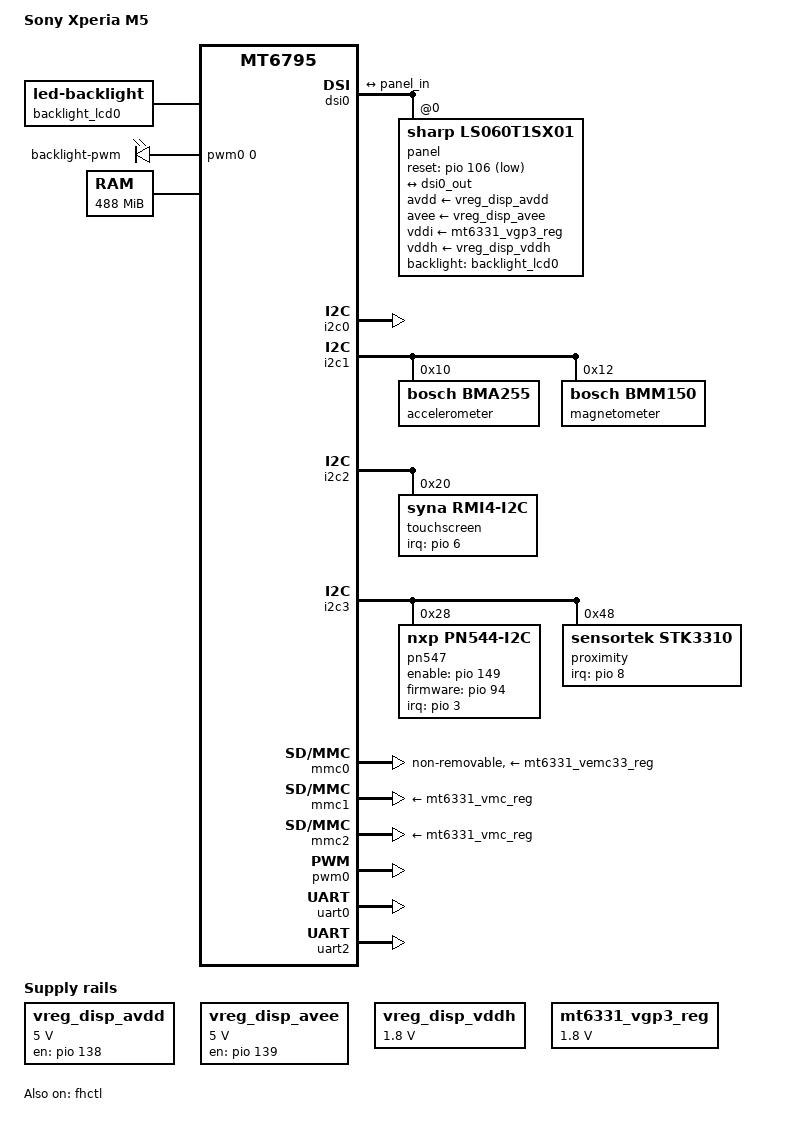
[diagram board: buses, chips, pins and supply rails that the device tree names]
// SPDX-License-Identifier: GPL-2.0-only
/*
 * Copyright (c) 2022, Collabora Ltd
 * Author: AngeloGioacchino Del Regno <angelogioacchino.delregno@collabora.com>
 */

/dts-v1/;
#include <dt-bindings/gpio/gpio.h>
#include "mt6795.dtsi"
#include "mt6331.dtsi"

/ {
	model = "Sony Xperia M5";
	compatible = "sony,xperia-m5", "mediatek,mt6795";
	chassis-type = "handset";

	aliases {
		mmc0 = &mmc0;
		mmc1 = &mmc1;
		mmc2 = &mmc2;
		serial0 = &uart0;
		serial1 = &uart1;
	};

	backlight_lcd0: backlight {
		compatible = "led-backlight";
		leds = <&disp_led_pwm>, <&pmic_bl_led>;

		default-brightness-level = <300>;
	};

	led-controller-display {
		compatible = "pwm-leds";

		disp_led_pwm: led-0 {
			label = "backlight-pwm";
			pwms = <&pwm0 0 500000>;
			max-brightness = <1024>;
		};
	};

	memory@40000000 {
		device_type = "memory";
		reg = <0 0x40000000 0 0x1e800000>;
	};

	reserved_memory: reserved-memory {
		#address-cells = <2>;
		#size-cells = <2>;
		ranges;

		/* 128 KiB reserved for ARM Trusted Firmware (BL31) */
		bl31_secmon_reserved: secmon@43000000 {
			reg = <0 0x43000000 0 0x30000>;
			no-map;
		};

		/* preloader and bootloader regions cannot be touched */
		preloader-region@44800000 {
			reg = <0 0x44800000 0 0x100000>;
			no-map;
		};

		bootloader-region@46000000 {
			reg = <0 0x46000000 0 0x400000>;
			no-map;
		};
	};

	vreg_disp_avdd: regulator-disp-avdd {
		compatible = "regulator-fixed";
		regulator-name = "disp_avdd";
		regulator-min-microvolt = <5000000>;
		regulator-max-microvolt = <5000000>;
		gpio = <&pio 138 GPIO_ACTIVE_HIGH>;
		enable-active-high;
	};

	vreg_disp_avee: regulator-disp-avee {
		compatible = "regulator-fixed";
		regulator-name = "disp_avee";
		regulator-min-microvolt = <5000000>;
		regulator-max-microvolt = <5000000>;
		gpio = <&pio 139 GPIO_ACTIVE_HIGH>;
		enable-active-high;
	};

	vreg_disp_vddh: regulator-disp-vddh {
		compatible = "regulator-fixed";
		regulator-name = "disp_vddh";
		regulator-min-microvolt = <1800000>;
		regulator-max-microvolt = <1800000>;
		regulator-always-on;
		regulator-boot-on;
	};
};

&dsi0 {
	status = "okay";
	#address-cells = <1>;
	#size-cells = <0>;

	panel: panel@0 {
		compatible = "sharp,ls060t1sx01";
		reg = <0>;
		avdd-supply = <&vreg_disp_avdd>;
		avee-supply = <&vreg_disp_avee>;
		vddi-supply = <&mt6331_vgp3_reg>;
		vddh-supply = <&vreg_disp_vddh>;
		reset-gpios = <&pio 106 GPIO_ACTIVE_LOW>;
		backlight = <&backlight_lcd0>;

		pinctrl-0 = <&disp_rst_pins>;
		pinctrl-names = "default";

		port {
			panel_in: endpoint {
				remote-endpoint = <&dsi0_out>;
			};
		};
	};

	port {
		dsi0_out: endpoint {
			remote-endpoint = <&panel_in>;
		};
	};
};

&fhctl {
	clocks = <&apmixedsys CLK_APMIXED_MAINPLL>, <&apmixedsys CLK_APMIXED_MPLL>,
		 <&apmixedsys CLK_APMIXED_MSDCPLL>;
	mediatek,hopping-ssc-percent = <8>, <5>, <8>;
	status = "okay";
};

&i2c0 {
	pinctrl-names = "default";
	pinctrl-0 = <&i2c0_pins>;
	status = "okay";
};

&i2c1 {
	pinctrl-names = "default";
	pinctrl-0 = <&i2c1_pins>;
	status = "okay";

	accelerometer@10 {
		compatible = "bosch,bma255";
		reg = <0x10>;
		pinctrl-names = "default";
		pinctrl-0 = <&accel_pins>;
	};

	magnetometer@12 {
		compatible = "bosch,bmm150";
		reg = <0x12>;
	};
};

&i2c2 {
	pinctrl-names = "default";
	pinctrl-0 = <&i2c2_pins>;
	status = "okay";

	touchscreen@20 {
		compatible = "syna,rmi4-i2c";
		reg = <0x20>;
		#address-cells = <1>;
		#size-cells = <0>;
		interrupts-extended = <&pio 6 IRQ_TYPE_EDGE_FALLING>;
		pinctrl-names = "default";
		pinctrl-0 = <&ts_pins>;
		syna,startup-delay-ms = <160>;
		syna,reset-delay-ms = <90>;

		rmi4-f01@1 {
			reg = <0x1>;
			syna,nosleep-mode = <1>;
		};

		rmi4-f12@12 {
			reg = <0x12>;
			syna,sensor-type = <1>;
		};
	};
};

&i2c3 {
	pinctrl-names = "default";
	pinctrl-0 = <&i2c3_pins>;
	status = "okay";

	pn547: nfc@28 {
		compatible = "nxp,pn544-i2c";
		reg = <0x28>;
		interrupts-extended = <&pio 3 IRQ_TYPE_EDGE_RISING>;
		pinctrl-names = "default";
		pinctrl-0 = <&nfc_pins>;
		enable-gpios = <&pio 149 GPIO_ACTIVE_HIGH>;
		firmware-gpios = <&pio 94 GPIO_ACTIVE_HIGH>;
	};

	proximity@48 {
		compatible = "sensortek,stk3310";
		reg = <0x48>;
		interrupts-extended = <&pio 8 IRQ_TYPE_EDGE_FALLING>;
		pinctrl-names = "default";
		pinctrl-0 = <&proximity_pins>;
	};
};

&mmc0 {
	/* eMMC controller */
	mediatek,latch-ck = <4>; /* hs400 */
	mediatek,hs200-cmd-int-delay = <1>;
	mediatek,hs400-cmd-int-delay = <1>;
	mediatek,hs400-ds-dly3 = <0x1a>;
	non-removable;
	pinctrl-names = "default", "state_uhs";
	pinctrl-0 = <&mmc0_pins_default>;
	pinctrl-1 = <&mmc0_pins_uhs>;
	vmmc-supply = <&mt6331_vemc33_reg>;
	vqmmc-supply = <&mt6331_vio18_reg>;
	status = "okay";
};

&mmc1 {
	/* MicroSD card slot */
	pinctrl-names = "default";
	pinctrl-0 = <&mmc1_pins_default>;
	vmmc-supply = <&mt6331_vmc_reg>;
	vqmmc-supply = <&mt6331_vmch_reg>;
	status = "okay";
};

&mmc2 {
	/* SDIO WiFi on MMC2 */
	pinctrl-names = "default";
	pinctrl-0 = <&mmc2_pins_default>;
	vmmc-supply = <&mt6331_vmc_reg>;
	vqmmc-supply = <&mt6331_vmch_reg>;
	status = "okay";
};

&mt6331_vgp3_reg {
	regulator-min-microvolt = <1800000>;
};

&pio {
	disp_rst_pins: lcm-pins {
		pins-rst {
			pinmux = <PINMUX_GPIO106__FUNC_GPIO106>;
		};
	};

	mmc0_pins_default: emmc-sdr-pins {
		pins-cmd-dat {
			pinmux = <PINMUX_GPIO154__FUNC_MSDC0_DAT0>,
				 <PINMUX_GPIO155__FUNC_MSDC0_DAT1>,
				 <PINMUX_GPIO156__FUNC_MSDC0_DAT2>,
				 <PINMUX_GPIO157__FUNC_MSDC0_DAT3>,
				 <PINMUX_GPIO158__FUNC_MSDC0_DAT4>,
				 <PINMUX_GPIO159__FUNC_MSDC0_DAT5>,
				 <PINMUX_GPIO160__FUNC_MSDC0_DAT6>,
				 <PINMUX_GPIO161__FUNC_MSDC0_DAT7>,
				 <PINMUX_GPIO162__FUNC_MSDC0_CMD>;
			input-enable;
			bias-pull-up = <MTK_PUPD_SET_R1R0_01>;
		};

		pins-clk {
			pinmux = <PINMUX_GPIO163__FUNC_MSDC0_CLK>;
			bias-pull-down = <MTK_PUPD_SET_R1R0_10>;
		};

		pins-rst {
			pinmux = <PINMUX_GPIO165__FUNC_MSDC0_RSTB>;
			bias-pull-up = <MTK_PUPD_SET_R1R0_10>;
		};
	};

	mmc0_pins_uhs: emmc-uhs-pins {
		pins-cmd-dat {
			pinmux = <PINMUX_GPIO154__FUNC_MSDC0_DAT0>,
				 <PINMUX_GPIO155__FUNC_MSDC0_DAT1>,
				 <PINMUX_GPIO156__FUNC_MSDC0_DAT2>,
				 <PINMUX_GPIO157__FUNC_MSDC0_DAT3>,
				 <PINMUX_GPIO158__FUNC_MSDC0_DAT4>,
				 <PINMUX_GPIO159__FUNC_MSDC0_DAT5>,
				 <PINMUX_GPIO160__FUNC_MSDC0_DAT6>,
				 <PINMUX_GPIO161__FUNC_MSDC0_DAT7>,
				 <PINMUX_GPIO162__FUNC_MSDC0_CMD>;
			input-enable;
			drive-strength = <6>;
			bias-pull-up = <MTK_PUPD_SET_R1R0_01>;
		};

		pins-clk {
			pinmux = <PINMUX_GPIO163__FUNC_MSDC0_CLK>;
			drive-strength = <6>;
			bias-pull-down = <MTK_PUPD_SET_R1R0_10>;
		};

		pins-rst {
			pinmux = <PINMUX_GPIO165__FUNC_MSDC0_RSTB>;
			drive-strength = <6>;
			bias-pull-up = <MTK_PUPD_SET_R1R0_10>;
		};

		pins-ds {
			pinmux = <PINMUX_GPIO164__FUNC_MSDC0_DSL>;
			drive-strength = <6>;
			bias-pull-down = <MTK_PUPD_SET_R1R0_10>;
		};
	};

	mmc1_pins_default: microsd-pins {
		pins-cmd-dat {
			pinmux = <PINMUX_GPIO171__FUNC_MSDC1_DAT0>,
				 <PINMUX_GPIO172__FUNC_MSDC1_DAT1>,
				 <PINMUX_GPIO173__FUNC_MSDC1_DAT2>,
				 <PINMUX_GPIO174__FUNC_MSDC1_DAT3>,
				 <PINMUX_GPIO170__FUNC_MSDC1_CMD>;
			input-enable;
			bias-pull-up = <MTK_PUPD_SET_R1R0_01>;
		};

		pins-clk {
			pinmux = <PINMUX_GPIO175__FUNC_MSDC1_CLK>;
			bias-pull-down = <MTK_PUPD_SET_R1R0_10>;
		};
	};

	mmc2_pins_default: sdio-pins {
		pins-cmd-dat {
			pinmux = <PINMUX_GPIO100__FUNC_MSDC2_DAT0>,
				 <PINMUX_GPIO101__FUNC_MSDC2_DAT1>,
				 <PINMUX_GPIO102__FUNC_MSDC2_DAT2>,
				 <PINMUX_GPIO103__FUNC_MSDC2_DAT3>,
				 <PINMUX_GPIO105__FUNC_MSDC2_CMD>;
			input-enable;
			bias-pull-up = <MTK_PUPD_SET_R1R0_01>;
		};

		pins-clk {
			pinmux = <PINMUX_GPIO104__FUNC_MSDC2_CLK>;
			bias-pull-down = <MTK_PUPD_SET_R1R0_10>;
		};
	};

	nfc_pins: nfc-pins {
		pins-irq {
			pinmux = <PINMUX_GPIO3__FUNC_GPIO3>;
			bias-pull-down;
			input-enable;
		};

		pins-fw-ven {
			pinmux = <PINMUX_GPIO94__FUNC_GPIO94>,
				 <PINMUX_GPIO149__FUNC_GPIO149>;
		};
	};

	ts_pins: touchscreen-pins {
		pins-irq {
			pinmux = <PINMUX_GPIO6__FUNC_GPIO6>;
			bias-pull-up;
			input-enable;
		};

		pins-rst {
			pinmux = <PINMUX_GPIO102__FUNC_GPIO102>;
			output-high;
		};
	};

	proximity_pins: proximity-pins {
		pins-irq {
			pinmux = <PINMUX_GPIO8__FUNC_GPIO8>;
			bias-pull-up;
			input-enable;
		};
	};

	accel_pins: accelerometer-pins {
		pins-irq {
			pinmux = <PINMUX_GPIO12__FUNC_GPIO12>;
			bias-pull-up;
			input-enable;
		};
	};

	i2c0_pins: i2c0-pins {
		pins-bus {
			pinmux = <PINMUX_GPIO45__FUNC_SDA0>,
				 <PINMUX_GPIO46__FUNC_SCL0>;
			input-enable;
		};
	};

	i2c1_pins: i2c1-pins {
		pins-bus {
			pinmux = <PINMUX_GPIO125__FUNC_SDA1>,
				 <PINMUX_GPIO126__FUNC_SCL1>;
			bias-disable;
		};
	};

	i2c2_pins: i2c2-pins {
		pins-bus {
			pinmux = <PINMUX_GPIO43__FUNC_SDA2>,
				 <PINMUX_GPIO44__FUNC_SCL2>;
			bias-disable;
		};
	};

	i2c3_pins: i2c3-pins {
		pins-bus {
			pinmux = <PINMUX_GPIO136__FUNC_SDA3>,
				 <PINMUX_GPIO137__FUNC_SCL3>;
			bias-disable;
		};
	};

	i2c4_pins: i2c4-pins {
		pins-bus {
			pinmux = <PINMUX_GPIO100__FUNC_SDA4>,
				 <PINMUX_GPIO101__FUNC_SCL4>;
			bias-disable;
		};
	};

	uart0_pins: uart0-pins {
		pins-rx {
			pinmux = <PINMUX_GPIO113__FUNC_URXD0>;
			bias-pull-up;
			input-enable;
		};
		pins-tx {
			pinmux = <PINMUX_GPIO114__FUNC_UTXD0>;
			output-high;
		};
	};

	uart2_pins: uart2-pins {
		pins-rx {
			pinmux = <PINMUX_GPIO31__FUNC_URXD2>;
			bias-pull-up;
			input-enable;
		};
		pins-tx {
			pinmux = <PINMUX_GPIO32__FUNC_UTXD2>;
		};
	};
};

&pmic {
	/*
	 * Smartphones, including the Xperia M5, are equipped with a companion
	 * MT6332 PMIC: when this is present, the main MT6331 PMIC will fire
	 * an interrupt on the companion, so we use the MT6332 IRQ GPIO.
	 */
	interrupts = <GIC_SPI 160 IRQ_TYPE_LEVEL_HIGH>;

	mt6332-led {
		compatible = "mediatek,mt6332-led";
		#address-cells = <1>;
		#size-cells = <0>;

		pmic_bl_led: led@0 {
			reg = <0>;
			label = "backlight-pmic";
		};
	};
};

&pwm0 {
	status = "okay";
};

&uart0 {
	status = "okay";

	pinctrl-names = "default";
	pinctrl-0 = <&uart0_pins>;
};

&uart2 {
	status = "okay";

	pinctrl-names = "default";
	pinctrl-0 = <&uart2_pins>;
};
